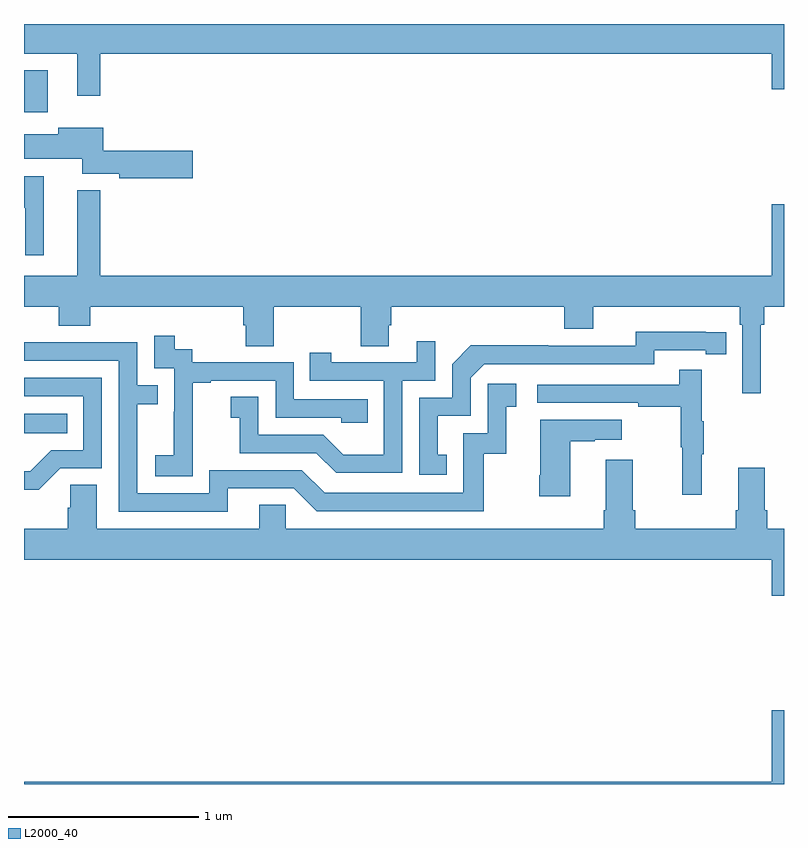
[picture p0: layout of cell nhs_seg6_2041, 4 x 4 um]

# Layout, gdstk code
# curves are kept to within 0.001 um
import gdstk
lib = gdstk.Library(unit=1e-6, precision=1e-09)
def R(c, l, rs):  # rectangles x0, y0, x1, y1
    for r in rs: c.add(gdstk.rectangle(r[:2], r[2:], *l))
def P(c, l, *ps):  # polygons
    for p in ps: c.add(gdstk.Polygon(p, *l))
L2000_40 = (2000, 40)

nhs_seg6_2041 = lib.new_cell('nhs_seg6_2041')
R(nhs_seg6_2041, L2000_40, [(233,937.346,233.228,937.45), (233,939.035,233.125,939.256)])
P(nhs_seg6_2041, L2000_40, [(233.401,939.344),(236.936,939.344),(236.936,939.156),(237,939.156),(237,939.5),(233,939.5),(233,939.344),(233.279,939.344),(233.279,939.123),(233.401,939.123)],
  [(233.887,938.834),(233.416,938.834),(233.416,938.953),(233.18,938.953),(233.18,938.921),(233,938.921),(233,938.792),(233.306,938.792),(233.306,938.711),(233.502,938.711),(233.502,938.687),(233.887,938.687)],
  [(233.104,938.698),(233,938.698),(233,938.534),(233.006,938.534),(233.006,938.283),(233.104,938.283)],
  [(236.878,937.916),(236.897,937.916),(236.897,938.012),(237,938.012),(237,938.551),(236.936,938.551),(236.936,938.176),(233.401,938.176),(233.401,938.626),(233.279,938.626),(233.279,938.176),(233,938.176),(233,938.012),(233.183,938.012),(233.183,937.913),(233.348,937.913),(233.348,938.012),(234.155,938.012),(234.155,937.914),(234.167,937.914),(234.167,937.804),(234.315,937.804),(234.315,938.012),(234.772,938.012),(234.772,937.804),(234.919,937.804),(234.919,937.914),(234.932,937.914),(234.932,938.012),(235.844,938.012),(235.844,937.895),(235.996,937.895),(235.996,938.012),(236.768,938.012),(236.768,937.916),(236.781,937.916),(236.781,937.557),(236.878,937.557)],
  [(235.226,937.233),(235.177,937.233),(235.177,937.437),(235.35,937.437),(235.35,937.638),(235.422,937.71),(236.316,937.71),(236.316,937.782),(236.588,937.782),(236.588,937.762),(236.696,937.762),(236.696,937.878),(236.22,937.879),(236.22,937.806),(235.76,937.806),(235.76,937.808),(235.352,937.808),(235.254,937.71),(235.254,937.533),(235.08,937.533),(235.08,937.128),(235.226,937.128)],
  [(233.889,937.327),(233.888,937.327),(233.888,937.611),(233.983,937.611),(233.983,937.623),(234.324,937.623),(234.324,937.428),(234.669,937.428),(234.669,937.401),(234.809,937.401),(234.809,937.524),(234.42,937.524),(234.42,937.719),(233.886,937.719),(233.886,937.788),(233.794,937.788),(233.794,937.858),(233.685,937.858),(233.685,937.689),(233.79,937.689),(233.79,937.46),(233.789,937.46),(233.789,937.231),(233.691,937.231),(233.691,937.121),(233.889,937.121)],
  [(234.99,937.623),(235.164,937.623),(235.164,937.831),(235.067,937.831),(235.067,937.719),(234.616,937.719),(234.616,937.771),(234.505,937.771),(234.505,937.623),(234.894,937.623),(234.894,937.234),(234.68,937.234),(234.576,937.338),(234.234,937.338),(234.234,937.537),(234.087,937.537),(234.087,937.427),(234.136,937.427),(234.136,937.242),(234.539,937.242),(234.644,937.137),(234.99,937.137)],
  [(234.073,937.056),(234.42,937.056),(234.54,936.936),(235.42,936.936),(235.42,937.239),(235.538,937.239),(235.538,937.485),(235.591,937.485),(235.591,937.606),(235.44,937.606),(235.44,937.347),(235.311,937.347),(235.311,937.032),(234.582,937.032),(234.462,937.152),(233.976,937.152),(233.976,937.029),(233.595,937.029),(233.595,937.498),(233.705,937.498),(233.705,937.599),(233.595,937.599),(233.595,937.824),(233.099,937.824),(233.099,937.826),(233,937.826),(233,937.728),(233.499,937.728),(233.499,936.933),(234.073,936.933)],
  [(236.567,937.235),(236.578,937.235),(236.578,937.409),(236.567,937.409),(236.567,937.681),(236.449,937.681),(236.449,937.602),(235.701,937.602),(235.701,937.506),(236.233,937.506),(236.233,937.486),(236.457,937.486),(236.457,937.272),(236.464,937.272),(236.464,937.023),(236.567,937.023)],
  [(233.19,937.161),(233.409,937.161),(233.409,937.638),(233,937.638),(233,937.542),(233.313,937.542),(233.313,937.257),(233.144,937.257),(233.033,937.146),(233,937.146),(233,937.049),(233.077,937.049)],
  [(235.876,937.303),(236.003,937.303),(236.003,937.313),(236.146,937.313),(236.146,937.417),(235.718,937.417),(235.718,937.126),(235.711,937.126),(235.711,937.014),(235.876,937.014)],
  [(234.239,936.971),(234.239,936.844),(233.383,936.844),(233.383,937.076),(233.244,937.076),(233.244,936.953),(233.231,936.953),(233.231,936.844),(233,936.844),(233,936.68),(236.936,936.68),(236.936,936.492),(237,936.492),(237,936.844),(236.912,936.844),(236.912,936.94),(236.899,936.94),(236.899,937.165),(236.759,937.165),(236.759,936.94),(236.747,936.94),(236.747,936.844),(236.216,936.844),(236.216,936.94),(236.203,936.94),(236.203,937.207),(236.063,937.207),(236.063,936.94),(236.051,936.94),(236.051,936.844),(234.378,936.844),(234.378,936.971)],
  [(237,935.887),(236.936,935.887),(236.936,935.512),(233,935.512),(233,935.5),(237,935.5)])

lib.write_gds('nhs_seg6_2041.gds')
